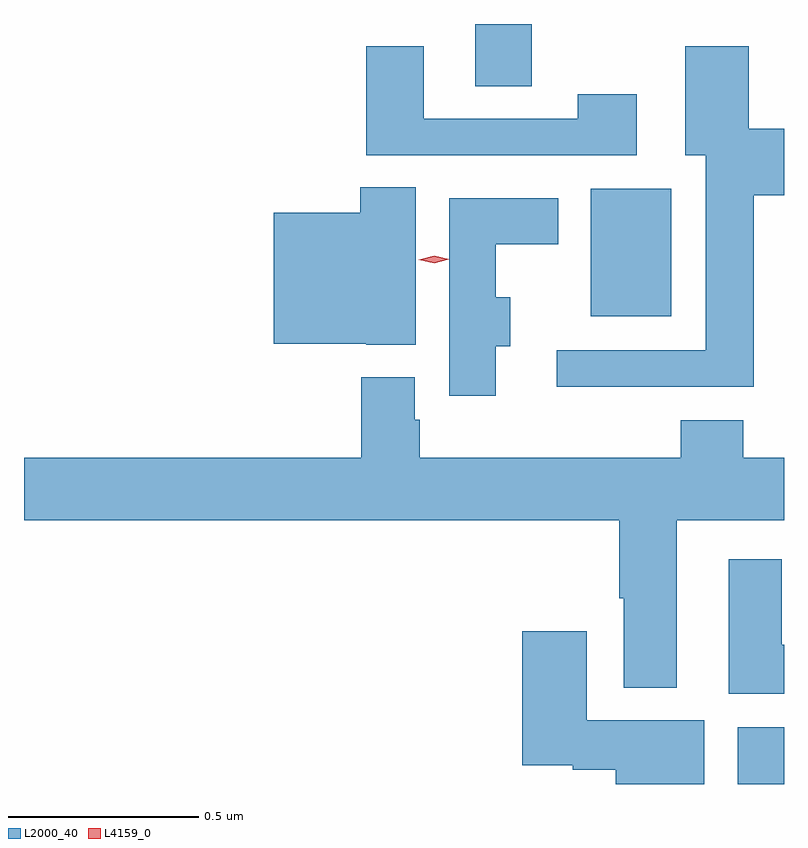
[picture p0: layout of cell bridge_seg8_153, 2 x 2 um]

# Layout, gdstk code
import gdstk
lib = gdstk.Library(unit=1e-6, precision=1e-09)
def R(c, l, rs):  # rectangles x0, y0, x1, y1
    for r in rs: c.add(gdstk.rectangle(r[:2], r[2:], *l))
def P(c, l, *ps):  # polygons
    for p in ps: c.add(gdstk.Polygon(p, *l))
L2000_40 = (2000, 40)
L4159_0 = (4159, 0)

bridge_seg8_153 = lib.new_cell('bridge_seg8_153')
R(bridge_seg8_153, L2000_40, [(613.007,1123.798,613.129,1123.948), (612.62,1125.029,612.832,1125.364), (612.317,1125.634,612.465,1125.798)])
P(bridge_seg8_153, L2000_40, [(613.049,1125.347),(613.129,1125.347),(613.129,1125.523),(613.036,1125.523),(613.036,1125.739),(612.869,1125.739),(612.869,1125.452),(612.923,1125.452),(612.923,1124.94),(612.531,1124.94),(612.531,1124.843),(613.049,1124.843)],
  [(612.742,1125.613),(612.586,1125.613),(612.586,1125.549),(612.181,1125.549),(612.181,1125.739),(612.029,1125.739),(612.029,1125.453),(612.742,1125.453)],
  [(612.16,1125.368),(612.014,1125.368),(612.014,1125.301),(611.786,1125.301),(611.786,1124.957),(612.03,1124.957),(612.03,1124.954),(612.16,1124.954)],
  [(612.37,1124.95),(612.409,1124.95),(612.409,1125.079),(612.37,1125.079),(612.37,1125.218),(612.535,1125.218),(612.535,1125.34),(612.248,1125.34),(612.248,1124.82),(612.37,1124.82)],
  [(612.847,1124.492),(613.129,1124.492),(613.129,1124.656),(613.022,1124.656),(613.022,1124.755),(612.857,1124.755),(612.857,1124.656),(612.17,1124.656),(612.17,1124.757),(612.157,1124.757),(612.157,1124.869),(612.017,1124.869),(612.017,1124.656),(611.129,1124.656),(611.129,1124.492),(612.695,1124.492),(612.695,1124.287),(612.707,1124.287),(612.707,1124.051),(612.847,1124.051)],
  [(613.129,1124.164),(613.123,1124.164),(613.123,1124.389),(612.983,1124.389),(612.983,1124.036),(613.129,1124.036)],
  [(612.919,1123.966),(612.61,1123.966),(612.61,1124.2),(612.44,1124.2),(612.44,1123.847),(612.573,1123.847),(612.573,1123.835),(612.686,1123.835),(612.686,1123.798),(612.919,1123.798)])
P(bridge_seg8_153, L4159_0, [(612.208,1125.168),(612.168,1125.177),(612.168,1125.177),(612.168,1125.177),(612.208,1125.188),(612.248,1125.179),(612.248,1125.179),(612.248,1125.179)])

lib.write_gds('bridge_seg8_153.gds')
